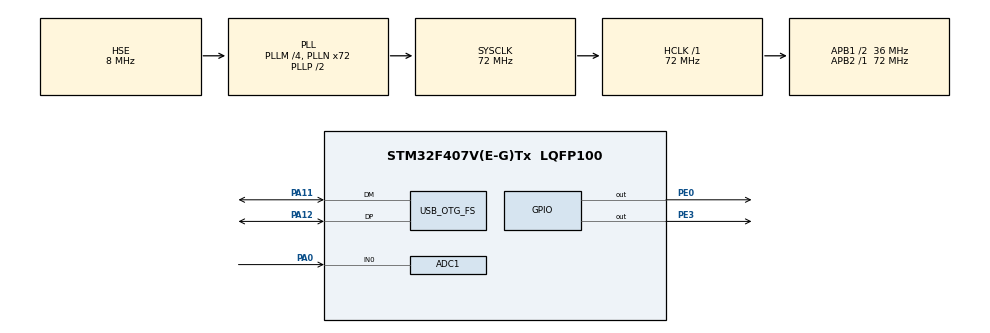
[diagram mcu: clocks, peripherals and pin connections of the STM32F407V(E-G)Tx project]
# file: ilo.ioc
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ADC1.Channel-0\#ChannelRegularConversion=ADC_CHANNEL_0
ADC1.ContinuousConvMode=ENABLE
ADC1.NbrOfConversionFlag=1
ADC1.Rank-0\#ChannelRegularConversion=1
ADC1.SamplingTime-0\#ChannelRegularConversion=ADC_SAMPLETIME_3CYCLES
ADC1.master=1
EdgeImpulse.kemir.1.0.3.MachineLearningCckemirJjCore=true
Mcu.Family=STM32F4
Mcu.Name=STM32F407V(E-G)Tx
Mcu.Package=LQFP100
NVIC.OTG_FS_IRQn=true\:0\:0\:false\:false\:true\:false\:true\:true
NVIC.PriorityGroup=NVIC_PRIORITYGROUP_4
PA0-WKUP.Signal=ADCx_IN0
PA11.Mode=Device_Only
PA11.Signal=USB_OTG_FS_DM
PA12.Mode=Device_Only
PA12.Signal=USB_OTG_FS_DP
PA13.Mode=Serial_Wire
PA13.Signal=SYS_JTMS-SWDIO
PA14.Mode=Serial_Wire
PA14.Signal=SYS_JTCK-SWCLK
PE0.Signal=GPIO_Output
PE3.Signal=GPIO_Output
PH0-OSC_IN.Mode=HSE-External-Oscillator
PH0-OSC_IN.Signal=RCC_OSC_IN
PH1-OSC_OUT.Mode=HSE-External-Oscillator
PH1-OSC_OUT.Signal=RCC_OSC_OUT
ProjectManager.HeapSize=0x200
ProjectManager.StackSize=0x400
ProjectManager.TargetToolchain=STM32CubeIDE
RCC.48MHZClocksFreq_Value=48000000
RCC.AHBFreq_Value=72000000
RCC.APB1CLKDivider=RCC_HCLK_DIV2
RCC.APB1Freq_Value=36000000
RCC.APB1TimFreq_Value=72000000
RCC.APB2Freq_Value=72000000
RCC.APB2TimFreq_Value=72000000
RCC.CortexFreq_Value=72000000
RCC.HCLKFreq_Value=72000000
RCC.HSE_VALUE=8000000
RCC.HSI_VALUE=16000000
RCC.LSE_VALUE=32768
RCC.PLLM=4
RCC.PLLN=72
RCC.PLLQ=3
RCC.SYSCLKFreq_VALUE=72000000
RCC.SYSCLKSource=RCC_SYSCLKSOURCE_PLLCLK
RCC.VCOOutputFreq_Value=144000000
SH.ADCx_IN0.0=ADC1_IN0,IN0
USB_DEVICE.CLASS_NAME_FS=CDC
USB_DEVICE.VirtualMode-CDC_FS=Cdc
USB_DEVICE.VirtualModeFS=Cdc_FS
USB_OTG_FS.VirtualMode=Device_Only
VP_CRC_VS_CRC.Mode=CRC_Activate
VP_EdgeImpulse.kemir_VS_kemirJjMachineLearning_1.0.3_1.0.3.Mode=kemirJjMachineLearning
VP_USB_DEVICE_VS_USB_DEVICE_CDC_FS.Mode=CDC_FS
board=custom

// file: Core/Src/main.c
/* USER CODE BEGIN Header */
/**
  ******************************************************************************
  * @file           : main.c
  * @brief          : Main program body
  ******************************************************************************
  * @attention
  *
  * Copyright (c) 2023 STMicroelectronics.
  * All rights reserved.
  *
  * This software is licensed under terms that can be found in the LICENSE file
  * in the root directory of this software component.
  * If no LICENSE file comes with this software, it is provided AS-IS.
  *
  ******************************************************************************
  */
/* USER CODE END Header */
#include "main.h"
#include "usb_device.h"

 ADC_HandleTypeDef hadc1;

CRC_HandleTypeDef hcrc;

void SystemClock_Config(void);
static void MX_GPIO_Init(void);
static void MX_ADC1_Init(void);
static void MX_CRC_Init(void);

/* USER CODE BEGIN 0 */
float adc_value;
char *comma = ",";
char *end = " \n";
char *message[500] = {};
char * recivebuffer[64];
uint16_t Read_ADC()
{
    HAL_ADC_Start(&hadc1);

    if(HAL_ADC_PollForConversion(&hadc1,100000)== HAL_OK)
    	adc_value= HAL_ADC_GetValue(&hadc1);

    HAL_ADC_Stop(&hadc1);
}
/* USER CODE END 0 */

int main(void)
{

  /* MCU Configuration--------------------------------------------------------*/

  /* Reset of all peripherals, Initializes the Flash interface and the Systick. */
  HAL_Init();

  /* Configure the system clock */
  SystemClock_Config();

  /* Initialize all configured peripherals */
  MX_GPIO_Init();
  MX_ADC1_Init();
  MX_CRC_Init();
  MX_USB_DEVICE_Init();

  /* Infinite loop */
  /* USER CODE BEGIN WHILE */
  while (1)
  {
	  char *ADC_buf[64];
	      /* USER CODE END WHILE */

	      /* USER CODE BEGIN 3 */
	  	  Read_ADC();
	  	  memset (ADC_buf,0,sizeof(ADC_buf));
	  	  gcvt(adc_value,9,ADC_buf);
	  	  int a;

	  	  strcat(message,ADC_buf);

	  	  strcat(message,end);
	  	  CDC_Transmit_FS ((uint8_t *)message, strlen(message));
	  	  memset (message,0,sizeof(message));

	  	  HAL_ADC_Stop(&hadc1);
	  	  HAL_Delay(100);

    /* USER CODE END WHILE */

    /* USER CODE BEGIN 3 */
  }
  /* USER CODE END 3 */
}

void SystemClock_Config(void)
{
  RCC_OscInitTypeDef RCC_OscInitStruct = {0};
  RCC_ClkInitTypeDef RCC_ClkInitStruct = {0};

  /** Configure the main internal regulator output voltage
  */
  __HAL_RCC_PWR_CLK_ENABLE();
  __HAL_PWR_VOLTAGESCALING_CONFIG(PWR_REGULATOR_VOLTAGE_SCALE1);

  /** Initializes the RCC Oscillators according to the specified parameters
  * in the RCC_OscInitTypeDef structure.
  */
  RCC_OscInitStruct.OscillatorType = RCC_OSCILLATORTYPE_HSE;
  RCC_OscInitStruct.HSEState = RCC_HSE_ON;
  RCC_OscInitStruct.PLL.PLLState = RCC_PLL_ON;
  RCC_OscInitStruct.PLL.PLLSource = RCC_PLLSOURCE_HSE;
  RCC_OscInitStruct.PLL.PLLM = 4;
  RCC_OscInitStruct.PLL.PLLN = 72;
  RCC_OscInitStruct.PLL.PLLP = RCC_PLLP_DIV2;
  RCC_OscInitStruct.PLL.PLLQ = 3;
  if (HAL_RCC_OscConfig(&RCC_OscInitStruct) != HAL_OK)
  {
    Error_Handler();
  }

  /** Initializes the CPU, AHB and APB buses clocks
  */
  RCC_ClkInitStruct.ClockType = RCC_CLOCKTYPE_HCLK|RCC_CLOCKTYPE_SYSCLK
                              |RCC_CLOCKTYPE_PCLK1|RCC_CLOCKTYPE_PCLK2;
  RCC_ClkInitStruct.SYSCLKSource = RCC_SYSCLKSOURCE_PLLCLK;
  RCC_ClkInitStruct.AHBCLKDivider = RCC_SYSCLK_DIV1;
  RCC_ClkInitStruct.APB1CLKDivider = RCC_HCLK_DIV2;
  RCC_ClkInitStruct.APB2CLKDivider = RCC_HCLK_DIV1;

  if (HAL_RCC_ClockConfig(&RCC_ClkInitStruct, FLASH_LATENCY_2) != HAL_OK)
  {
    Error_Handler();
  }
}

static void MX_ADC1_Init(void)
{

  ADC_ChannelConfTypeDef sConfig = {0};

  /** Configure the global features of the ADC (Clock, Resolution, Data Alignment and number of conversion)
  */
  hadc1.Instance = ADC1;
  hadc1.Init.ClockPrescaler = ADC_CLOCK_SYNC_PCLK_DIV2;
  hadc1.Init.Resolution = ADC_RESOLUTION_12B;
  hadc1.Init.ScanConvMode = DISABLE;
  hadc1.Init.ContinuousConvMode = ENABLE;
  hadc1.Init.DiscontinuousConvMode = DISABLE;
  hadc1.Init.ExternalTrigConvEdge = ADC_EXTERNALTRIGCONVEDGE_NONE;
  hadc1.Init.ExternalTrigConv = ADC_SOFTWARE_START;
  hadc1.Init.DataAlign = ADC_DATAALIGN_RIGHT;
  hadc1.Init.NbrOfConversion = 1;
  hadc1.Init.DMAContinuousRequests = DISABLE;
  hadc1.Init.EOCSelection = ADC_EOC_SINGLE_CONV;
  if (HAL_ADC_Init(&hadc1) != HAL_OK)
  {
    Error_Handler();
  }

  /** Configure for the selected ADC regular channel its corresponding rank in the sequencer and its sample time.
  */
  sConfig.Channel = ADC_CHANNEL_0;
  sConfig.Rank = 1;
  sConfig.SamplingTime = ADC_SAMPLETIME_3CYCLES;
  if (HAL_ADC_ConfigChannel(&hadc1, &sConfig) != HAL_OK)
  {
    Error_Handler();
  }

}

static void MX_CRC_Init(void)
{

  hcrc.Instance = CRC;
  if (HAL_CRC_Init(&hcrc) != HAL_OK)
  {
    Error_Handler();
  }

}

static void MX_GPIO_Init(void)
{
  GPIO_InitTypeDef GPIO_InitStruct = {0};

  /* GPIO Ports Clock Enable */
  __HAL_RCC_GPIOE_CLK_ENABLE();
  __HAL_RCC_GPIOH_CLK_ENABLE();
  __HAL_RCC_GPIOA_CLK_ENABLE();

  /*Configure GPIO pin Output Level */
  HAL_GPIO_WritePin(GPIOE, GPIO_PIN_3|GPIO_PIN_0, GPIO_PIN_RESET);

  /*Configure GPIO pins : PE3 PE0 */
  GPIO_InitStruct.Pin = GPIO_PIN_3|GPIO_PIN_0;
  GPIO_InitStruct.Mode = GPIO_MODE_OUTPUT_PP;
  GPIO_InitStruct.Pull = GPIO_NOPULL;
  GPIO_InitStruct.Speed = GPIO_SPEED_FREQ_LOW;
  HAL_GPIO_Init(GPIOE, &GPIO_InitStruct);

}

void Error_Handler(void)
{
  __disable_irq();
  while (1)
  {
  }
}
